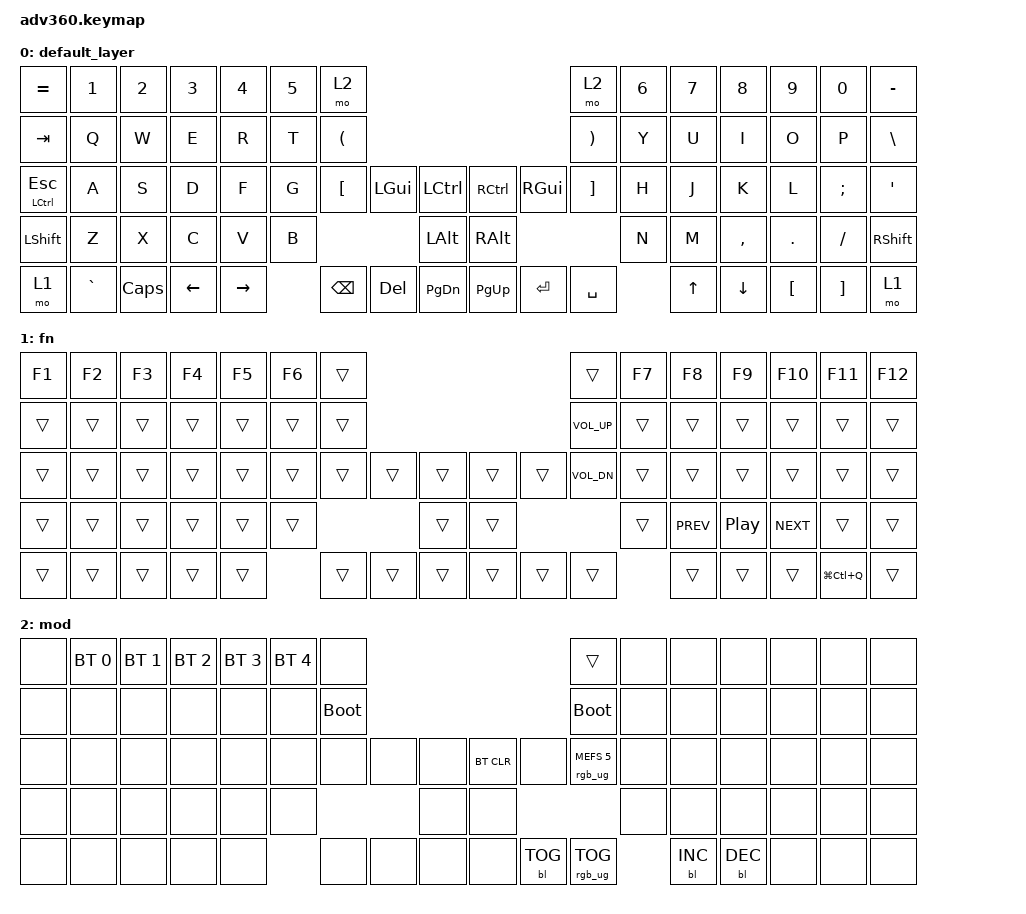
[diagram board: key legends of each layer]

/*
 * Copyright (c) 2020 The ZMK Contributors
 *
 * SPDX-License-Identifier: MIT
 */


/* THIS FILE WAS GENERATED!
 *
 * This file was generated automatically. You may or may not want to
 * edit it directly.
 */

#include <behaviors.dtsi>
#include <dt-bindings/zmk/backlight.h>
#include <dt-bindings/zmk/bt.h>
#include <dt-bindings/zmk/keys.h>
#include <dt-bindings/zmk/rgb.h>

/ {
  behaviors {
    #include "macros.dtsi"
    #include "version.dtsi"

    hm: homerow_mods {
        compatible = "zmk,behavior-hold-tap";
        label = "HOMEROW_MODS";
        #binding-cells = <2>;
        tapping-term-ms = <200>;
        quick_tap_ms = <175>;
        flavor = "tap-preferred";
        bindings = <&kp>, <&kp>;
    };
  };

    keymap {
        compatible = "zmk,keymap";


        default_layer {
            bindings = <
&kp EQUAL      &kp N1     &kp N2    &kp N3    &kp N4     &kp N5  &mo 2                                                                &mo 2                  &kp N6  &kp N7  &kp N8     &kp N9    &kp N0    &kp MINUS
&kp TAB        &kp Q      &kp W     &kp E     &kp R      &kp T   &kp LEFT_PARENTHESIS                                                 &kp RIGHT_PARENTHESIS  &kp Y   &kp U   &kp I      &kp O     &kp P     &kp BSLH
&mt LCTRL ESC  &kp A      &kp S     &kp D     &kp F      &kp G   &kp LEFT_BRACKET      &kp LGUI  &kp LCTRL      &kp RCTRL  &kp RGUI   &kp RIGHT_BRACKET      &kp H   &kp J   &kp K      &kp L     &kp SEMI  &kp SQT
&kp LSHFT      &kp Z      &kp X     &kp C     &kp V      &kp B                                   &kp LALT       &kp RALT                                     &kp N   &kp M   &kp COMMA  &kp DOT   &kp FSLH  &kp RSHFT
&mo 1          &kp GRAVE  &kp CAPS  &kp LEFT  &kp RIGHT          &kp BSPC              &kp DEL   &kp PG_DN      &kp PG_UP  &kp ENTER  &kp SPACE                      &kp UP  &kp DOWN   &kp LBKT  &kp RBKT  &mo 1
            >;
        };

        fn {
            bindings = <
&kp F1  &kp F2  &kp F3  &kp F4  &kp F5  &kp F6  &trans                                      &trans        &kp F7  &kp F8      &kp F9    &kp F10     &kp F11        &kp F12
&trans  &trans  &trans  &trans  &trans  &trans  &trans                                      &kp C_VOL_UP  &trans  &trans      &trans    &trans      &trans         &trans
&trans  &trans  &trans  &trans  &trans  &trans  &trans  &trans  &trans      &trans  &trans  &kp C_VOL_DN  &trans  &trans      &trans    &trans      &trans         &trans
&trans  &trans  &trans  &trans  &trans  &trans                  &trans      &trans                        &trans  &kp C_PREV  &kp C_PP  &kp C_NEXT  &trans         &trans
&trans  &trans  &trans  &trans  &trans          &trans  &trans  &trans      &trans  &trans  &trans                &trans      &trans    &trans      &kp LG(LC(Q))  &trans
            >;
        };

        mod {
            bindings = <
&none  &bt BT_SEL 0  &bt BT_SEL 1  &bt BT_SEL 2  &bt BT_SEL 3  &bt BT_SEL 4  &none                                                  &trans                  &none  &none       &none       &none  &none  &none
&none  &none         &none         &none         &none         &none         &bootloader                                            &bootloader             &none  &none       &none       &none  &none  &none
&none  &none         &none         &none         &none         &none         &none        &none  &none      &bt BT_CLR  &none       &rgb_ug RGB_MEFS_CMD 5  &none  &none       &none       &none  &none  &none
&none  &none         &none         &none         &none         &none                             &none      &none                                           &none  &none       &none       &none  &none  &none
&none  &none         &none         &none         &none                       &none        &none  &none      &none       &bl BL_TOG  &rgb_ug RGB_TOG                &bl BL_INC  &bl BL_DEC  &none  &none  &none
            >;
        };
    };
};
